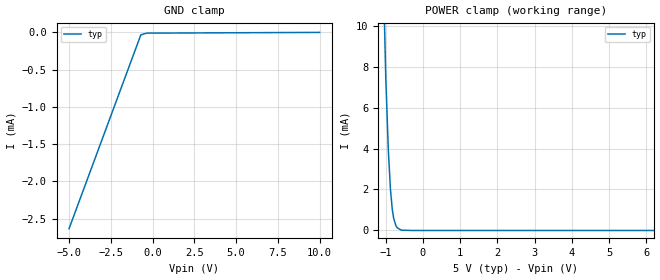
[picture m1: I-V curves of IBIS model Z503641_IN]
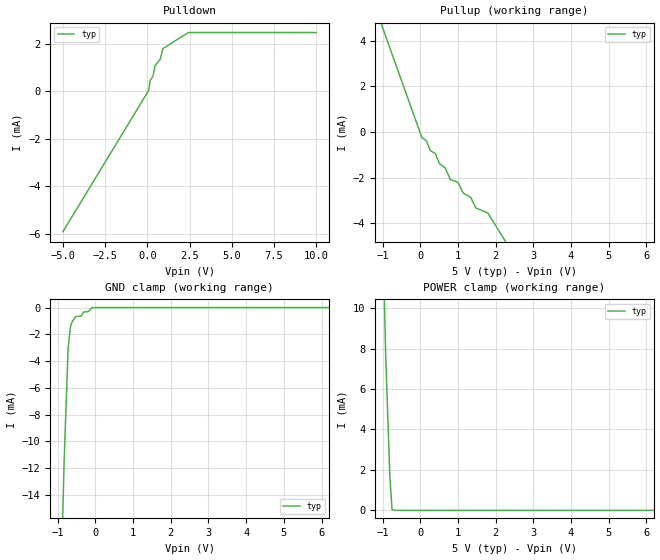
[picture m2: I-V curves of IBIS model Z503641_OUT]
| YOU ARE ONLY AUTHORIZED TO USE THIS SOFTWARE
| ACCORDING TO LICENSOR'S LICENSE RESTRICTIONS.
[IBIS Ver] 3.1
[File Name] mc14526bcl.ibs
[File Rev] 2.0
[Source] Measured and created by ICX Technology
[Date] Friday 7/14/00 9:07:56 AM
[Copyright]
| (C) COPYRIGHT 1993-2000
| MENTOR GRAPHICS CORPORATION
| ICX STANDARD LIBRARY, ICX PROJECT MODELING,
| ICX CUSTOM MODELING, ICX VENDOR MODEL
| ALL RIGHTS RESERVED.
| THE FOLLOWING ARE TRADEMARKS OR SERVICE MARKS OF
| MENTOR GRAPHICS CORPORATION:ICX (R), ICX STANDARD
| LIBRARY(R), ICX PROJECT MODELING(R), ICX CUSTOM
| MODELING(R), qualityIBIS(TM), MODELVIEWER(TM),
| AND MODELEDITOR(TM)
| ALL COPIES OF SOFTWARE, INCLUDING BUT NOT LIMITED TO
| ANY MODIFICATIONS, ENHANCEMENTS OR DERIVATIVE WORKS,
| MUST CONTAIN ALL MENTOR GRAPHICS CORPORATION'S
| NOTICES AND LEGENDS, INCLUDING THOSE EMBEDDED IN
| SOFTWARE AND THOSE AFFIXED TO SOFTWARE MEDIUM
| AND CONTAINER, AS RECEIVED FROM MENTOR GRAPHICS
| CORPORATION.
|  ZAP Model Builder 2.7
[Component] MC14526BCL
[Manufacturer] OnSemiconductor
[Package]
| variable   typ   min   max
R_pkg  .212ohms NA NA
L_pkg  4.758nH NA NA
C_pkg  1.944pF NA NA
[Pin] signal_name  model_name  R_pin  L_pin C_pin
1 Q3 Z503641_OUT .224 7.258n 2.683p
2 P3 Z503641_IN .216 5.258n 2.19p
3 PE Z503641_IN .208 3.758n 1.697p
4 INH Z503641_IN .2 2.758n 1.204p
5 P0 Z503641_IN .2 2.758n 1.204p
6 CLK Z503641_IN .208 3.758n 1.697p
7 Q0 Z503641_OUT .216 5.258n 2.19p
8 VSS POWER .224 7.258n 2.683p
9 Q1 Z503641_OUT .224 7.258n 2.683p
10 R Z503641_IN .216 5.258n 2.19p
11 P1 Z503641_IN .208 3.758n 1.697p
12 0OUT Z503641_OUT .2 2.758n 1.204p
13 CF Z503641_IN .2 2.758n 1.204p
14 P2 Z503641_IN .208 3.758n 1.697p
15 Q2 Z503641_OUT .216 5.258n 2.19p
16 VDD POWER .224 7.258n 2.683p
| Models and submodels in the file (2): Z503641_IN (Input), Z503641_OUT (Output)
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| (C) COPYRIGHT 1993-2000
| MENTOR GRAPHICS CORPORATION
| ICX STANDARD LIBRARY, ICX PROJECT MODELING,
| ICX CUSTOM MODELING, ICX VENDOR MODEL
| ALL RIGHTS RESERVED.
| THE FOLLOWING ARE TRADEMARKS OR SERVICE MARKS OF
| MENTOR GRAPHICS CORPORATION:ICX (R), ICX STANDARD
| LIBRARY(R), ICX PROJECT MODELING(R), ICX CUSTOM
| MODELING(R), qualityIBIS(TM), MODELVIEWER(TM),
| AND MODELEDITOR(TM)
| ALL COPIES OF SOFTWARE, INCLUDING BUT NOT LIMITED TO
| ANY MODIFICATIONS, ENHANCEMENTS OR DERIVATIVE WORKS,
| MUST CONTAIN ALL MENTOR GRAPHICS CORPORATION'S
| NOTICES AND LEGENDS, INCLUDING THOSE EMBEDDED IN
| SOFTWARE AND THOSE AFFIXED TO SOFTWARE MEDIUM
| AND CONTAINER, AS RECEIVED FROM MENTOR GRAPHICS
| CORPORATION.
| Model Application Version 1.89 2/18/99.
[Model] Z503641_IN
Model_type Input
Vinl = 1.500V
Vinh = 3.500V
C_comp 4.000pF NA NA
| variable typ   min   max
[Voltage Range] 5.000V NA NA
[GND Clamp Reference] 0.000V NA NA
[POWER Clamp Reference] 5.000V NA NA
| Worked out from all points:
|   POWER clamp passes 1 mA (typ) near -0.82 V on its own axis
[GND Clamp]
-5V       -2.632mA   NA         NA
-703.2mV  -34.81uA   NA         NA
-351.6mV  -12.02uA   NA         NA
10V       -2.055uA   NA         NA
[POWER Clamp]
-5V       313.3mA    NA         NA
-995mV    7.504mA    NA         NA
-928mV    4mA        NA         NA
-869mV    2.006mA    NA         NA
-820mV    1.033mA    NA         NA
-785mV    616.8uA    NA         NA
-726mV    251.3uA    NA         NA
-688mV    130.7uA    NA         NA
-572mV    13.78uA    NA         NA
-286mV    0A         NA         NA
10V       0A         NA         NA
| (C) COPYRIGHT 1993-2000
| MENTOR GRAPHICS CORPORATION
| ICX STANDARD LIBRARY, ICX PROJECT MODELING,
| ICX CUSTOM MODELING, ICX VENDOR MODEL
| ALL RIGHTS RESERVED.
| THE FOLLOWING ARE TRADEMARKS OR SERVICE MARKS OF
| MENTOR GRAPHICS CORPORATION:ICX (R), ICX STANDARD
| LIBRARY(R), ICX PROJECT MODELING(R), ICX CUSTOM
| MODELING(R), qualityIBIS(TM), MODELVIEWER(TM),
| AND MODELEDITOR(TM)
| ALL COPIES OF SOFTWARE, INCLUDING BUT NOT LIMITED TO
| ANY MODIFICATIONS, ENHANCEMENTS OR DERIVATIVE WORKS,
| MUST CONTAIN ALL MENTOR GRAPHICS CORPORATION'S
| NOTICES AND LEGENDS, INCLUDING THOSE EMBEDDED IN
| SOFTWARE AND THOSE AFFIXED TO SOFTWARE MEDIUM
| AND CONTAINER, AS RECEIVED FROM MENTOR GRAPHICS
| CORPORATION.
| Model Application Version 1.89 2/18/99.
[Model] Z503641_OUT
Model_type Output
Vref=0.000V
Rref=500.0Mohms
Cref=50.00pF
Vmeas=2.500V
C_comp 8.000pF NA NA
| variable typ   min   max
[Voltage Range] 5.000V NA NA
[POWER Clamp Reference] 5.000V NA NA
[Pullup Reference] 5.000V NA NA
[Pulldown Reference] 0.000V NA NA
[GND Clamp Reference] 0.000V NA NA
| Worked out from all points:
|   slope of the pulldown table from 0 to 0.75 V, typ, clamps not added: 538 ohm
|   slope of the pullup table from 0 to 0.75 V, typ, clamps not added: 405 ohm
|   GND clamp passes 1 mA (typ) near -0.60 V on its own axis
|   POWER clamp passes 1 mA (typ) near -0.78 V on its own axis
[GND Clamp]
-5V       -558.7mA   NA         NA
-1.224V   -54.92mA   NA         NA
-833.9mV  -11.66mA   NA         NA
-725.9mV  -3.026mA   NA         NA
-664.1mV  -1.403mA   NA         NA
-625mV    -1.094mA   NA         NA
-527.7mV  -672.3uA   NA         NA
-386.9mV  -651.2uA   NA         NA
-310.2mV  -330.8uA   NA         NA
-189.4mV  -299.4uA   NA         NA
-94.7mV   0A         NA         NA
10V       0A         NA         NA
[Pulldown]
-5V       -5.904mA   NA         NA
68.36mV   29.15uA    NA         NA
170.4mV   464.1uA    NA         NA
331.8mV   638.9uA    NA         NA
448.9mV   1.08mA     NA         NA
747.3mV   1.335mA    NA         NA
922.9mV   1.798mA    NA         NA
2.417V    2.473mA    NA         NA
10V       2.473mA    NA         NA
[Pullup]
-5V       23.05mA    NA         NA
166mV     -377.9uA   NA         NA
264mV     -804.2uA   NA         NA
405mV     -947.4uA   NA         NA
507mV     -1.373mA   NA         NA
801mV     -2.074mA   NA         NA
1.001V    -2.195mA   NA         NA
1.143V    -2.678mA   NA         NA
1.341V    -2.854mA   NA         NA
1.477V    -3.319mA   NA         NA
1.797V    -3.545mA   NA         NA
10V       -25.28mA   NA         NA
[POWER Clamp]
-5V       423.6mA    NA         NA
-1.011V   15.24mA    NA         NA
-917mV    7.711mA    NA         NA
-806mV    1.674mA    NA         NA
-747mV    40.14uA    NA         NA
-664mV    0A         NA         NA
10V       0A         NA         NA
[Ramp]
| variable typ min max
dV/dt_r 2.559/12.88n NA NA
dV/dt_f 2.559/13.38n NA NA
R_load = 2.500kOhms
